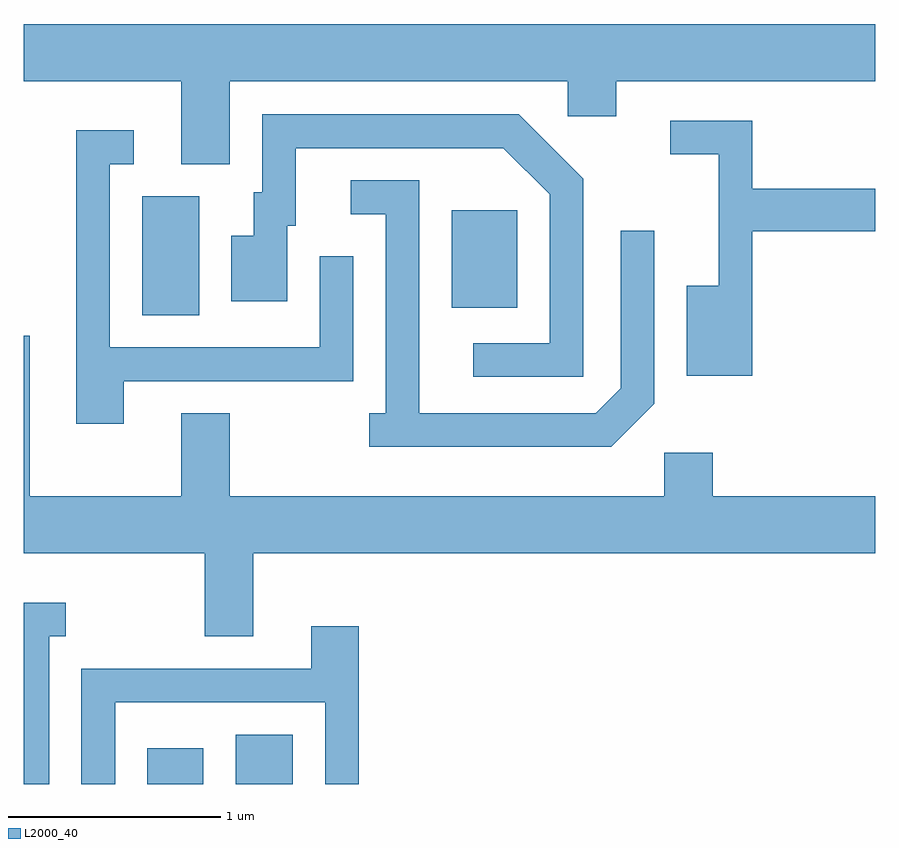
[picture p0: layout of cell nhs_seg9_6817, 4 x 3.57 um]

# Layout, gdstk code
import gdstk
lib = gdstk.Library(unit=1e-6, precision=1e-09)
def R(c, l, rs):  # rectangles x0, y0, x1, y1
    for r in rs: c.add(gdstk.rectangle(r[:2], r[2:], *l))
def P(c, l, *ps):  # polygons
    for p in ps: c.add(gdstk.Polygon(p, *l))
L2000_40 = (2000, 40)

nhs_seg9_6817 = lib.new_cell('nhs_seg9_6817')
R(nhs_seg9_6817, L2000_40, [(386.191,2068.432,386.454,2068.599), (386.606,2068.432,386.874,2068.664), (386.166,2070.636,386.434,2071.194), (387.621,2070.671,387.929,2071.129)])
P(nhs_seg9_6817, L2000_40, [(386.579,2071.736),(388.166,2071.736),(388.166,2071.571),(388.394,2071.571),(388.394,2071.736),(389.611,2071.736),(389.611,2072.004),(385.611,2072.004),(385.611,2071.736),(386.351,2071.736),(386.351,2071.346),(386.579,2071.346)],
  [(388.239,2071.277),(387.937,2071.579),(386.731,2071.579),(386.731,2071.214),(386.691,2071.214),(386.691,2071.009),(386.586,2071.009),(386.586,2070.701),(386.849,2070.701),(386.849,2071.056),(386.889,2071.056),(386.889,2071.421),(387.864,2071.421),(388.081,2071.204),(388.081,2070.504),(387.723,2070.504),(387.723,2070.346),(388.239,2070.346)],
  [(389.034,2071.031),(389.611,2071.031),(389.611,2071.229),(389.034,2071.229),(389.034,2071.549),(388.648,2071.549),(388.648,2071.391),(388.876,2071.391),(388.876,2070.774),(388.726,2070.774),(388.726,2070.351),(389.034,2070.351)],
  [(386.079,2070.326),(387.159,2070.326),(387.159,2070.913),(387.001,2070.913),(387.001,2070.484),(386.014,2070.484),(386.014,2071.346),(386.128,2071.346),(386.128,2071.504),(385.856,2071.504),(385.856,2070.126),(386.079,2070.126)],
  [(388.574,2070.219),(388.574,2071.033),(388.416,2071.033),(388.416,2070.292),(388.299,2070.174),(387.469,2070.174),(387.469,2071.269),(387.148,2071.269),(387.148,2071.111),(387.311,2071.111),(387.311,2070.174),(387.233,2070.174),(387.233,2070.016),(388.372,2070.016)],
  [(386.689,2069.516),(389.611,2069.516),(389.611,2069.784),(388.849,2069.784),(388.849,2069.989),(388.621,2069.989),(388.621,2069.784),(386.579,2069.784),(386.579,2070.174),(386.351,2070.174),(386.351,2069.784),(385.639,2069.784),(385.639,2070.539),(385.611,2070.539),(385.611,2069.516),(386.461,2069.516),(386.461,2069.126),(386.689,2069.126)],
  [(385.729,2069.126),(385.808,2069.126),(385.808,2069.284),(385.611,2069.284),(385.611,2068.432),(385.729,2068.432)],
  [(386.039,2068.816),(387.026,2068.816),(387.026,2068.432),(387.184,2068.432),(387.184,2069.174),(386.961,2069.174),(386.961,2068.974),(385.881,2068.974),(385.881,2068.432),(386.039,2068.432)])

lib.write_gds('nhs_seg9_6817.gds')
